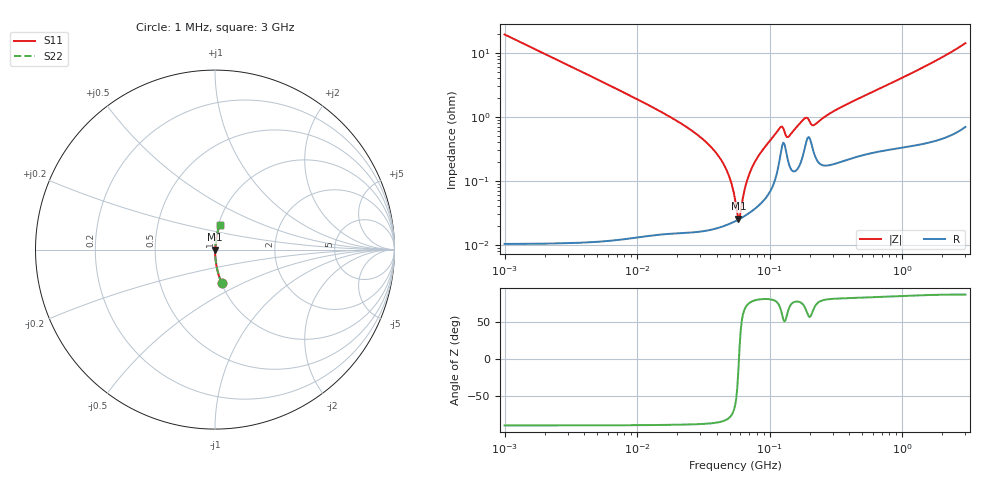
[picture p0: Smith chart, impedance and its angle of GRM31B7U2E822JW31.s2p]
!Murata Part Number: GRM31B7U2E822JW31
!These Parameters are Measured in Series Mode Connection
!Data Generated on Mar 30, 2021
!  o--ll--o
!Port1  Port2
!  o------o
!Operation Temp=25[degC], DC Bias Voltage=0[V]
!Freq. Start=1000[kHz] Stop=3[GHz] 401[Steps]
# Hz S RI R 50
!Freq.(Hz) S11(Real) S11(Imag) S21(Real) S21(Imag) S12(Real) S12(Imag) S22(Real) S22(Imag)
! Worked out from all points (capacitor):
!   401 points, 1 MHz to 3 GHz, reference 50 ohm
!   read as one part in series: C = 8.14 nF near 1.041 MHz
!   lowest |Z| = 25.5 mohm at 58.16 MHz (marker M1)
!   series resonance near 58.67 MHz, so ESL is about 900 pH
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1000000  0.0369 -0.1881  0.9631 0.1881  0.9631 0.1881  0.0369 -0.1881
3823119  0.00269 -0.0507  0.9973 0.0507  0.9973 0.0507  0.00269 -0.0507
1.461624e7  0.000301 -0.0125  0.9997 0.0125  0.9997 0.0125  0.000301 -0.0125
2.664524e7  0.000191 -0.00584  0.9998 0.00584  0.9998 0.00584  0.000191 -0.00584
3.820236e7  0.000186 -0.00297  0.9998 0.00297  0.9998 0.00297  0.000186 -0.00297
4.761141e7  0.000207 -0.00142  0.9998 0.00142  0.9998 0.00142  0.000207 -0.00142
5.15801e7  0.00022 -0.000874  0.9998 0.000874  0.9998 0.000874  0.00022 -0.000874
5.477226e7  0.000233 -0.000467  0.9998 0.000467  0.9998 0.000467  0.000233 -0.000467
5.700937e7  0.000243 -0.000195  0.9998 0.000195  0.9998 0.000195  0.000243 -0.000195
5.816196e7  0.000248 -5.91e-05  0.9998 5.91e-05  0.9998 5.91e-05  0.000248 -5.91e-05
6.053752e7  0.00026 0.000214  0.9997 -0.000214  0.9997 -0.000214  0.00026 0.000214
6.690964e7  0.000296 0.000904  0.9997 -0.000904  0.9997 -0.000904  0.000296 0.000904
7.395247e7  0.000343 0.00162  0.9997 -0.00162  0.9997 -0.00162  0.000343 0.00162
8.507507e7  0.000443 0.00268  0.9996 -0.00268  0.9996 -0.00268  0.000443 0.00268
1.171891e8  0.00185 0.00613  0.9981 -0.00613  0.9981 -0.00613  0.00185 0.00613
1.244416e8  0.00363 0.00602  0.9964 -0.00602  0.9964 -0.00602  0.00363 0.00602
1.375402e8  0.00209 0.00436  0.9979 -0.00436  0.9979 -0.00436  0.00209 0.00436
1.857042e8  0.00358 0.00892  0.9964 -0.00892  0.9964 -0.00892  0.00358 0.00892
2.094008e8  0.00346 0.00657  0.9965 -0.00657  0.9965 -0.00657  0.00346 0.00657
3.453811e8  0.00218 0.014  0.9978 -0.014  0.9978 -0.014  0.00218 0.014
8.005644e8  0.00412 0.0325  0.9959 -0.0325  0.9959 -0.0325  0.00412 0.0325
3e9  0.0264 0.1378  0.9736 -0.1378  0.9736 -0.1378  0.0264 0.1378
